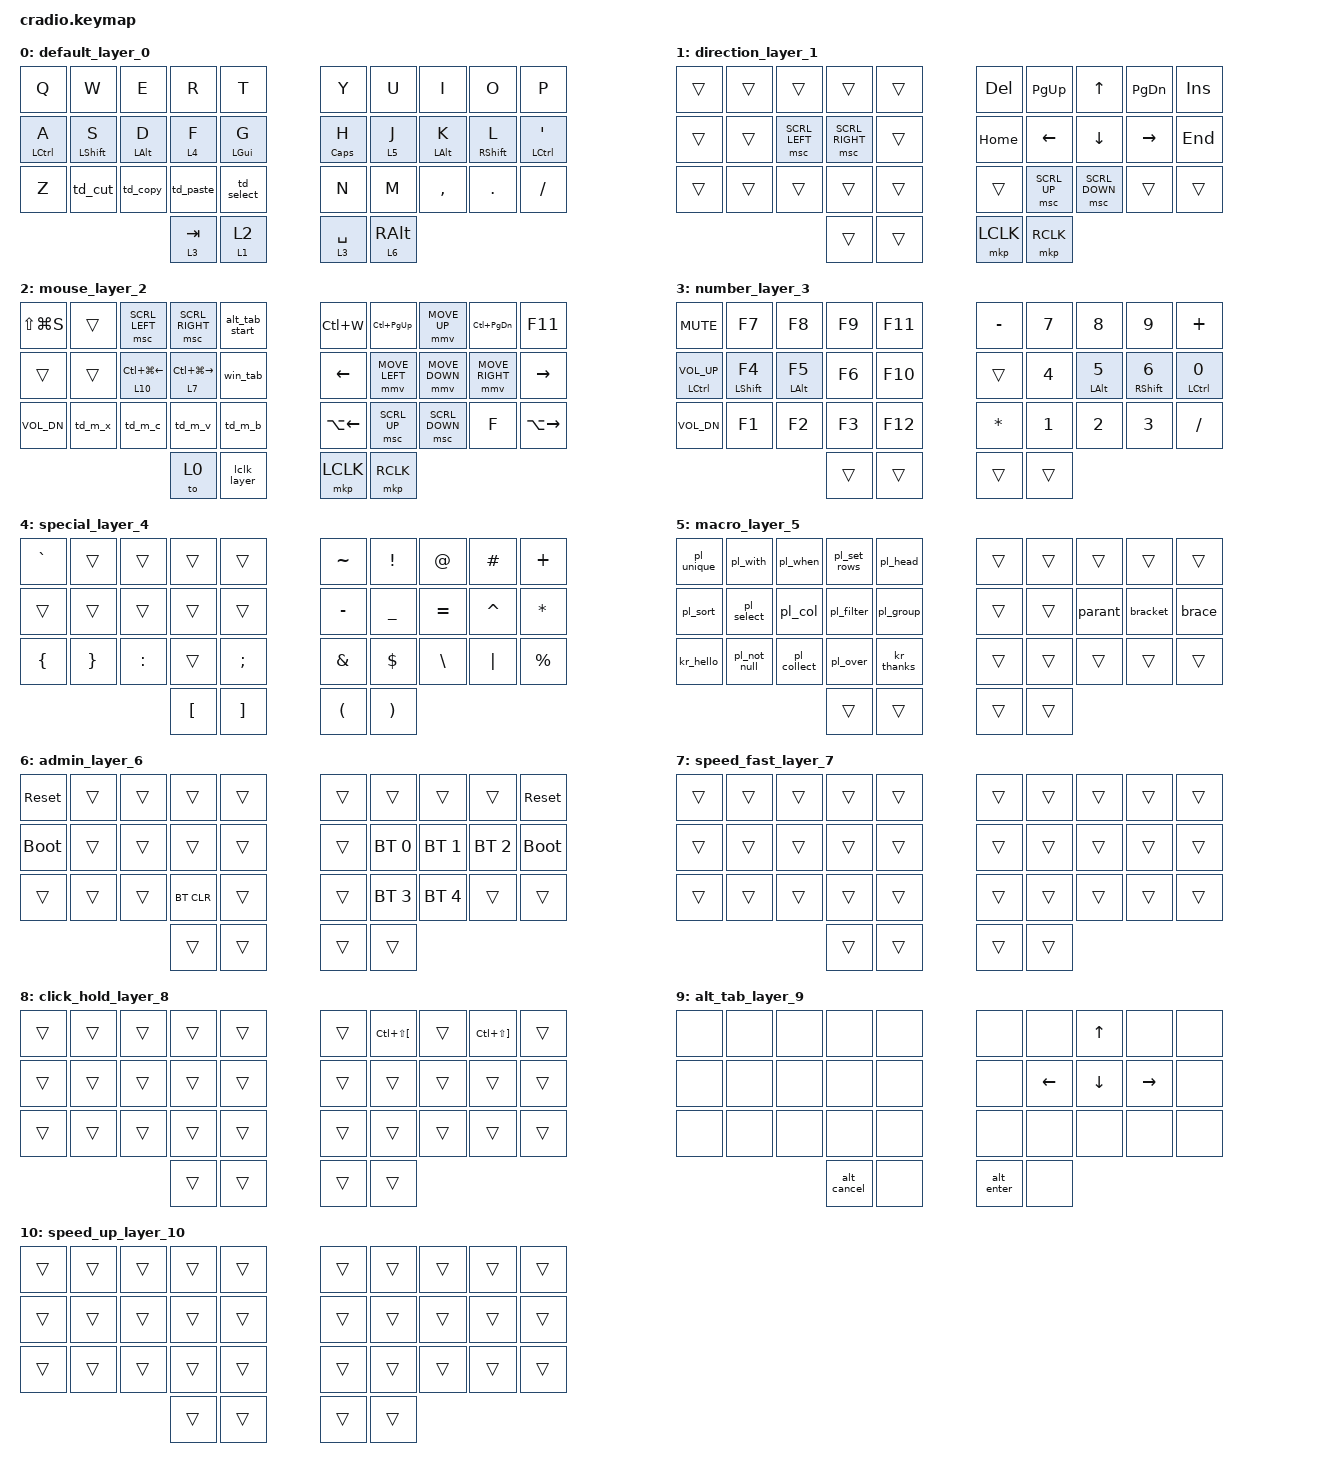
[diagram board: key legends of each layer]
// Copyright (c) 2022 The ZMK Contributors
// SPDX-License-Identifier: MIT

#include <behaviors.dtsi>
#include <dt-bindings/zmk/keys.h>
#include <dt-bindings/zmk/bt.h>
#include <dt-bindings/zmk/pointing.h>
#define ZMK_POINTING_DEFAULT_MOVE_VAL 1800  // default: 600
#define ZMK_POINTING_DEFAULT_SCRL_VAL 80    // default: 10
#include <input/processors.dtsi>

&mmv {
        acceleration-exponent = <1>;
        time-to-max-speed-ms = <300>;
    };

&msc {
        acceleration-exponent = <1>;
        time-to-max-speed-ms = <200>;
    };


//╭──────────┬──────────┬──────────┬──────────┬──────────╮   ╭──────────┬──────────┬──────────┬──────────┬──────────╮
//│  Q    0  │  W    1  │  E   2   │  R   3   │  T   4   │   │  Y   5   │  U   6   │  I   7   │  O   8   │  P   9   │
//├──────────┼──────────┼──────────┼──────────┼──────────┤   ├──────────┼──────────┼──────────┼──────────┼──────────┤
//│  A    10 │  S    11 │  D   12  │  F   13  │  G   14  │   │  H   15  │  J   16  │  K   17  │  L   18  │ ' "  19  │
//├──────────┼──────────┼──────────┼──────────┼──────────┤   ├──────────┼──────────┼──────────┼──────────┼──────────┤
//│  Z    20 │  X    21 │  C   22  │  V   23  │  B   24  │   │  N   25  │  M   26  │ , <  27  │ . >  28  │ / ?  29  │
//╰──────────┴──────────┴──────────┼──────────┼──────────┤   ├──────────┼──────────┼──────────┴──────────┴──────────╯
//                                 │      30  │      31  │   │      32  │      33  │
//                                 ╰──────────┴──────────╯   ╰──────────┴──────────╯

&mmv_input_listener {
    input-processors = <&zip_xy_scaler 1 1>;   // 기본 속도

    slow_override {
        layers = <7>;
        input-processors = <&zip_xy_scaler 1 2>;  // 7번 레이어(F 홀드): 절반 속도
    };

    fast_override {
        layers = <10>;                             // [수정] 8 -> 10
        input-processors = <&zip_xy_scaler 5 1>;  // 10번 레이어(D 홀드): 5배 속도
    };
};

/ {
macros {
    pl_col: pl_col {
        compatible = "zmk,behavior-macro";
        #binding-cells = <0>;
        wait-ms = <7>;
        tap-ms = <7>;
        bindings
            = <&kp P &kp L &kp DOT &kp C &kp O &kp L &kp LPAR &kp SQT &kp SQT &kp RPAR>
            , <&kp LEFT &kp LEFT>;
    };

    pl_sort: pl_sort {
        compatible = "zmk,behavior-macro";
        #binding-cells = <0>;
        wait-ms = <7>;
        tap-ms = <7>;
        bindings
            = <&kp DOT &kp S &kp O &kp R &kp T &kp LPAR &kp SQT &kp SQT &kp RPAR>
            , <&kp LEFT &kp LEFT>;
    };

    pl_select: pl_select {
        compatible = "zmk,behavior-macro";
        #binding-cells = <0>;
        wait-ms = <7>;
        tap-ms = <7>;
        bindings
            = <&kp DOT &kp S &kp E &kp L &kp E &kp C &kp T>
            , <&kp LPAR &kp LBKT &kp SQT &kp SQT &kp RBKT &kp RPAR>
            , <&kp LEFT &kp LEFT &kp LEFT>;
    };

    pl_with: pl_with {
        compatible = "zmk,behavior-macro";
        #binding-cells = <0>;
        wait-ms = <15>;
        tap-ms = <15>;
        bindings

            = <&kp EQUAL>, <&kp LPAR>, <&kp P>, <&kp L>, <&kp DOT>, <&kp C>, <&kp O>, <&kp L>
            , <&kp LPAR>, <&kp SQT>, <&kp SQT>, <&kp RPAR>, <&kp RPAR>, <&kp RPAR>
            , <&kp HOME>
            , <&kp DOT>, <&kp W>, <&kp I>, <&kp T>, <&kp H>, <&kp UNDER>, <&kp C>, <&kp O>, <&kp L>, <&kp U>, <&kp M>, <&kp N>, <&kp S>
            , <&kp LPAR>, <&kp SPACE>;
    };


    pl_filter: pl_filter {
        compatible = "zmk,behavior-macro";
        #binding-cells = <0>;
        wait-ms = <7>;
        tap-ms = <7>;
        bindings
            = <&kp DOT &kp F &kp I &kp L &kp T &kp E &kp R>
            , <&kp LPAR &kp P &kp L &kp DOT &kp C &kp O &kp L &kp LPAR>
            , <&kp SQT &kp SQT &kp RPAR &kp RPAR>
            , <&kp LEFT &kp LEFT &kp LEFT>;
    };

    pl_unique: pl_unique {
        compatible = "zmk,behavior-macro";
        #binding-cells = <0>;
        wait-ms = <7>;
        tap-ms = <7>;
        bindings = <&kp DOT &kp U &kp N &kp I &kp Q &kp U &kp E &kp LPAR &kp RPAR>;
    };

    pl_when: pl_when {
        compatible = "zmk,behavior-macro";
        #binding-cells = <0>;
        wait-ms = <7>;
        tap-ms = <7>;
        // pl.when().then().otherwise(None)|  (커서는 맨 끝)
        bindings
            = <&kp P &kp L &kp DOT &kp W &kp H &kp E &kp N &kp LPAR &kp RPAR>
            , <&kp DOT &kp T &kp H &kp E &kp N &kp LPAR &kp RPAR>
            , <&kp DOT &kp O &kp T &kp H &kp E &kp R &kp W &kp I &kp S &kp E &kp LPAR &kp LS(N) &kp O &kp N &kp E &kp RPAR>
            ;
    };

    pl_not_null: pl_not_null {
        compatible = "zmk,behavior-macro";
        #binding-cells = <0>;
        wait-ms = <7>;
        tap-ms = <7>;
        bindings
            = <&kp DOT &kp I &kp S &kp UNDER &kp N &kp O &kp T &kp UNDER &kp N &kp U &kp L &kp L &kp LPAR &kp RPAR>
            , <&kp LEFT &kp LEFT &kp LEFT &kp LEFT &kp LEFT &kp LEFT &kp LEFT>
            , <&kp LS(LEFT) &kp LS(LEFT) &kp LS(LEFT) &kp LS(LEFT)>
            ;
    };


    pl_collect: pl_collect {
        compatible = "zmk,behavior-macro";
        #binding-cells = <0>;
        wait-ms = <7>;
        tap-ms = <7>;
        // .collect(engine='streaming')
        bindings
            = <&kp DOT &kp C &kp O &kp L &kp L &kp E &kp C &kp T &kp LPAR>
            , <&kp E &kp N &kp G &kp I &kp N &kp E &kp EQUAL &kp SQT &kp S &kp T &kp R &kp E &kp A &kp M &kp I &kp N &kp G &kp SQT &kp RPAR>
            ;
    };

    pl_head: pl_head {
        compatible = "zmk,behavior-macro";
        #binding-cells = <0>;
        wait-ms = <7>;
        tap-ms = <7>;
        bindings = <&kp DOT &kp H &kp E &kp A &kp D &kp LPAR &kp RPAR>;
    };

    pl_set_rows: pl_set_rows {
        compatible = "zmk,behavior-macro";
        #binding-cells = <0>;
        wait-ms = <7>;
        tap-ms = <7>;
        bindings
            = <&kp P &kp L &kp DOT &kp LS(C) &kp O &kp N &kp F &kp I &kp G &kp DOT &kp S &kp E &kp T &kp UNDER &kp T &kp B &kp L &kp UNDER &kp R &kp O &kp W &kp S &kp LPAR &kp RPAR>
            , <&kp LEFT>;
    };

    pl_group: pl_group {
        compatible = "zmk,behavior-macro";
        #binding-cells = <0>;
        wait-ms = <15>;
        tap-ms = <15>;
        bindings
            = <&kp SQT>, <&kp RPAR>, <&kp DOT>, <&kp A>, <&kp G>, <&kp G>
            , <&kp LPAR>, <&kp SPACE>, <&kp EQUAL>, <&kp P>, <&kp L>, <&kp DOT>, <&kp C>, <&kp O>, <&kp L>
            , <&kp LPAR>, <&kp SQT>, <&kp SQT>, <&kp RPAR>, <&kp RPAR>, <&kp RPAR>
            , <&kp HOME>
            , <&kp DOT>, <&kp G>, <&kp R>, <&kp O>, <&kp U>, <&kp P>, <&kp UNDER>, <&kp B>, <&kp Y>
            , <&kp LPAR>
            ;
    };


    pl_over: pl_over {
        compatible = "zmk,behavior-macro";
        #binding-cells = <0>;
        wait-ms = <7>;
        tap-ms = <7>;
        bindings
            = <&kp DOT &kp O &kp V &kp E &kp R &kp LPAR &kp SQT &kp SQT &kp RPAR>
            , <&kp LEFT &kp LEFT> ;
    };

    bracket: bracket {
        compatible = "zmk,behavior-macro";
        #binding-cells = <0>;
        wait-ms = <7>;
        tap-ms = <7>;
        bindings
            = <&kp LBKT &kp RBKT &kp LEFT> ;
    };

    brace: brace {
        compatible = "zmk,behavior-macro";
        #binding-cells = <0>;
        wait-ms = <7>;
        tap-ms = <7>;
        bindings
            = <&kp LBRC &kp RBRC &kp LEFT> ;
    };

    parant: parant {
        compatible = "zmk,behavior-macro";
        #binding-cells = <0>;
        wait-ms = <7>;
        tap-ms = <7>;
        bindings
            = <&kp LPAR &kp RPAR &kp LEFT> ;
    };

    kr_thanks: kr_thanks {
        compatible = "zmk,behavior-macro";
        #binding-cells = <0>;
        wait-ms = <7>;
        tap-ms = <7>;
        bindings
            = <&kp R &kp K &kp A &kp T &kp K &kp G &kp K &kp Q &kp S &kp L &kp E &kp K &kp TILDE &kp EXCL> ;
    };


    kr_hello: kr_hello {
        compatible = "zmk,behavior-macro";
        #binding-cells = <0>;
        wait-ms = <7>;
        tap-ms = <7>;
        bindings
            = <&kp D &kp K &kp S &kp S &kp U &kp D &kp G &kp K &kp T &kp P &kp D &kp Y> ;
    };

    win_tab: win_tab {
        compatible = "zmk,behavior-macro";
        #binding-cells = <0>;
        wait-ms = <7>;
        tap-ms = <7>;
        bindings
            = <&macro_press &kp LGUI>
            , <&macro_tap &kp TAB>
            , <&macro_release &kp LGUI>
            ;
    };

    // ===== 마우스 레이어에서 좌클릭(31번) 홀드 중 레이어 8(click_hold_layer_8) 활성화 =====
    lclk_layer: lclk_layer {
        compatible = "zmk,behavior-macro";
        #binding-cells = <0>;
        wait-ms = <0>;
        tap-ms = <0>;
        bindings
            = <&macro_press &mo 8 &mkp LCLK>
            , <&macro_pause_for_release>
            , <&macro_release &mo 8 &mkp LCLK>
            ;
    };

    // ===== Alt 유지형 Alt+Tab (기본 레이어 L0 위에 레이어 9를 얹는 방식) =====
    alt_tab_start: alt_tab_start {
        compatible = "zmk,behavior-macro";
        #binding-cells = <0>;
        wait-ms = <15>;
        tap-ms = <15>;
        bindings
            = <&macro_press &kp LALT>
            , <&macro_tap &kp TAB>
            , <&macro_tap &to 0>
            , <&macro_tap &tog 9>
            ;
    };

    // Enter로 선택 확정 -> Alt 해제 -> 레이어 9 종료 -> 마우스 레이어(L2)로 복귀
    alt_enter: alt_enter {
        compatible = "zmk,behavior-macro";
        #binding-cells = <0>;
        wait-ms = <10>;
        tap-ms = <10>;
        bindings
            = <&macro_tap &kp ENTER>
            , <&macro_release &kp LALT>
            , <&macro_tap &tog 9>
            , <&macro_tap &to 2>
            ;
    };

    // Esc로 전환기 닫기 -> Alt 해제 -> 레이어 9 종료 -> 마우스 레이어(L2)로 복귀 (창 전환 없음)
    alt_cancel: alt_cancel {
        compatible = "zmk,behavior-macro";
        #binding-cells = <0>;
        wait-ms = <10>;
        tap-ms = <10>;
        bindings
            = <&macro_tap &kp ESC>
            , <&macro_release &kp LALT>
            , <&macro_tap &tog 9>
            , <&macro_tap &to 2>
            ;
    };

};
combos {
    compatible = "zmk,combos";
    // k + l = ENTER (레이어 9 제외)
    combo_enter {
        timeout-ms = <30>;
        key-positions = <17 18>;
        layers = <0 1 2 3 4 5 6 7 8 10>;   // [수정] 10 추가
        bindings = <&kp ENTER>;
    };

    // d + f = CAPS LOCK (누를 때마다 on/off 토글)
    combo_capslock {
        timeout-ms = <30>;
        key-positions = <12 13>;   // D(12), F(13)
        layers = <0>;              // 기본 레이어에서만
        bindings = <&kp CAPS>;
    };

    // m + , = home
    combo_home {
        timeout-ms = <30>;
        layers = <0 1 2 3 4 5 6 7 8 10>;   // [수정]
        key-positions = <26 27>;
        bindings = <&kp HOME>;
    };

    // n + m = voldn
    combo_voldn {
        timeout-ms = <30>;
        layers = <0 1 2 3 4 5 6 7 8 10>;   // [수정]
        key-positions = <25 26>;
        bindings = <&kp C_VOL_DN>;
    };

    // , + . = volup
    combo_volup {
        timeout-ms = <30>;
        layers = <0 1 2 3 4 5 6 7 8 10>;   // [수정]
        key-positions = <27 28>;
        bindings = <&kp C_VOL_UP>;
    };

    // j + k = BACKSPACE
    combo_backspace {
        timeout-ms = <30>;
        layers = <0 1 2 3 4 5 6 7 8 10>;   // [수정]
        key-positions = <16 17>;
        bindings = <&kp BSPC>;
    };

    // h + j = cntrl + BACKSPACE
    combo_backspace_ctrl {
        timeout-ms = <30>;
        layers = <0 1 2 3 4 5 6 7 8 10>;   // [수정]
        key-positions = <16 17 18>;
        bindings = <&kp LC(BSPC)>;
    };

    // w + e = esc
    combo_esc {
        timeout-ms = <30>;
        layers = <0 1 2 3 4 5 6 7 8 10>;   // [수정]
        key-positions = <1 2>;
        bindings = <&kp ESC>;
    };

    // d + ' = colon
    combo_COLON {
        timeout-ms = <30>;
        layers = <0 1 2 3 4 5 6 7 8 10>;   // [수정]
        key-positions = <18 19>;
        bindings = <&kp COLON>;
    };

    // d + : = semicolon
    combo_SEMI {
        timeout-ms = <30>;
        layers = <0 1 2 3 4 5 6 7 8 10>;   // [수정]
        key-positions = <28 29>;
        bindings = <&kp SEMI>;
    };

    // e + r = screen shot
    combo_screenshot {
        timeout-ms = <30>;
        layers = <0 1 2 3 4 5 6 7 8 10>;   // [수정]
        key-positions = <2 3>;
        bindings = <&kp LS(LG(S))>;
    };

    // ㅅ + ㅋ = 좌리셋
    combo_lreset {
        timeout-ms = <30>;
        key-positions = <4 20>;
        bindings = <&sys_reset>;
    };

    // ㅛ + / = 우리셋
    combo_rreset {
        timeout-ms = <30>;
        key-positions = <5 29>;
        bindings = <&sys_reset>;
    };
};
behaviors {
    ht: hold_tap {
        compatible = "zmk,behavior-hold-tap";
        #binding-cells = <2>;
        flavor = "tap-preferred";
        tapping-term-ms = <220>;
        quick-tap-ms = <150>;
        // require-prior-idle-ms = <100>;
        bindings = <&kp>, <&kp>;
    };

    layer_tab: layer_tap_hold {
        compatible = "zmk,behavior-hold-tap";
        #binding-cells = <2>;
        flavor = "tap-preferred";
        tapping-term-ms = <200>;
        // 홀드 시 첫 번째 인자(&mo), 탭 시 두 번째 인자(&kp) 실행
        bindings = <&mo>, <&kp>;
    };

    to_mo: to_mo {
        compatible = "zmk,behavior-hold-tap";
        #binding-cells = <2>;
        flavor = "tap-preferred";
        tapping-term-ms = <200>;
        bindings = <&mo>, <&to>;     // [Hold 시 동작], [Tap 시 동작]
    };

    td_cut: tap_dance_cut {
        compatible = "zmk,behavior-tap-dance";
        label = "TAP_DANCE_CUT";
        #binding-cells = <0>;
        tapping-term-ms = <200>;
        bindings = <&kp X>, <&kp LC(X)>;
    };

    // 복사 (c 한 번: c, 두 번: Ctrl+C)
    td_copy: tap_dance_copy {
        compatible = "zmk,behavior-tap-dance";
        label = "TAP_DANCE_COPY";
        #binding-cells = <0>;
        tapping-term-ms = <200>;
        bindings = <&kp C>, <&kp LC(C)>;
    };

    // 붙여넣기 (v 한 번: v, 두 번: Ctrl+V)
    td_paste: tap_dance_paste {
        compatible = "zmk,behavior-tap-dance";
        label = "TAP_DANCE_PASTE";
        #binding-cells = <0>;
        tapping-term-ms = <200>;
        bindings = <&kp V>, <&kp LC(V)>;
    };

    // 전체선택 (b 한 번: b, 두 번: Ctrl+A)
    td_select: tap_dance_select {
        compatible = "zmk,behavior-tap-dance";
        label = "TAP_DANCE_SELECT";
        #binding-cells = <0>;
        tapping-term-ms = <200>;
        bindings = <&kp B>, <&kp LC(A)>;
    };

    // ===== 마우스 레이어 전용: 1탭 = 미디어키, 2탭 = 잘라내기/복사/붙여넣기/전체선택 =====
    td_m_x: tap_dance_m_x {
        compatible = "zmk,behavior-tap-dance";
        label = "TAP_DANCE_M_X";
        #binding-cells = <0>;
        tapping-term-ms = <200>;
        bindings = <&kp C_PREV>, <&kp LC(X)>;
    };

    td_m_c: tap_dance_m_c {
        compatible = "zmk,behavior-tap-dance";
        label = "TAP_DANCE_M_C";
        #binding-cells = <0>;
        tapping-term-ms = <200>;
        bindings = <&kp C_PP>, <&kp LC(C)>;
    };

    td_m_v: tap_dance_m_v {
        compatible = "zmk,behavior-tap-dance";
        label = "TAP_DANCE_M_V";
        #binding-cells = <0>;
        tapping-term-ms = <200>;
        bindings = <&kp C_NEXT>, <&kp LC(V)>;
    };

    td_m_b: tap_dance_m_b {
        compatible = "zmk,behavior-tap-dance";
        label = "TAP_DANCE_M_B";
        #binding-cells = <0>;
        tapping-term-ms = <200>;
        bindings = <&kp C_VOL_UP>, <&kp LC(A)>;
    };

};
keymap {
    compatible = "zmk,keymap";

    // ---- 레이어 0 ----
    default_layer_0 {
        bindings = <
    //╭──────────┬──────────┬──────────┬──────────┬──────────╮   ╭──────────┬──────────┬──────────┬──────────┬──────────╮
    //│  Q       │  W       │  E       │  R       │  T       │   │  Y       │  U       │  I       │  O       │  P       │
        &kp Q         &kp W   &kp E     &kp R      &kp T         &kp Y      &kp U        &kp I      &kp O    &kp P
    //├──────────┼──────────┼──────────┼──────────┼──────────┤   ├──────────┼──────────┼──────────┼──────────┼──────────┤
    //│  A       │  S       │  D       │  F       │  G       │   │  H       │  J       │  K       │  L       │ ' "      │
        &ht LCTRL A &ht LSHFT S &ht LALT D &lt 4 F &ht LGUI G     &ht CAPS H  &lt 5 J &ht LALT K &ht RSHFT L &ht LCTRL SQT
    //├──────────┼──────────┼──────────┼──────────┼──────────┤   ├──────────┼──────────┼──────────┼──────────┼──────────┤
    //│  Z       │  X       │  C       │  V       │  B       │   │  N       │  M       │ , <      │ . >      │ / ?      │
        &kp Z      &td_cut    &td_copy   &td_paste  &td_select     &kp N      &kp M      &kp COMMA  &kp DOT    &kp FSLH
    //╰──────────┴──────────┴──────────┼──────────┼──────────┤   ├──────────┼──────────┼──────────┴──────────┴──────────╯
                                    &layer_tab 3 TAB    &to_mo 1 2  &lt 3 SPACE  &layer_tab 6 RALT
    //                                 ╰──────────┴──────────╯   ╰──────────┴──────────╯
        >;
    };

    // ---- 레이어 1 ----
    direction_layer_1 {
        bindings = <
        &trans      &trans   &trans      &trans       &trans      &kp DEL    &kp PG_UP    &kp UP  &kp PG_DN    &kp INS
        &trans   &trans  &msc SCRL_LEFT &msc SCRL_RIGHT &trans     &kp HOME  &kp LEFT  &kp DOWN   &kp RIGHT   &kp END
        &trans     &trans      &trans     &trans     &trans         &trans  &msc SCRL_UP &msc SCRL_DOWN &trans &trans
                                            &trans     &trans         &mkp LCLK  &mkp RCLK
        >;
    };

    // ---- 레이어 2 (마우스) ----
    mouse_layer_2 {
        bindings = <
    //╭──────────┬──────────┬──────────┬──────────┬──────────╮   ╭──────────┬──────────┬──────────┬──────────┬──────────╮
    //│          │          │          │          │ ALT+TAB  │   │          │          │          │          │          │
       &kp LS(LG(S)) &trans  &msc SCRL_LEFT &msc SCRL_RIGHT &alt_tab_start &kp LC(W) &kp LC(PG_UP) &mmv MOVE_UP &kp LC(PG_DN) &kp F11
    //├──────────┼──────────┼──────────┼──────────┼──────────┤   ├──────────┼──────────┼──────────┼──────────┼──────────┤
    //│          │          │          │          │          │   │          │          │          │          │          │
       &trans  &trans  &layer_tab 10 LC(LG(LEFT)) &layer_tab 7 LC(LG(RIGHT))  &win_tab &kp LEFT  &mmv MOVE_LEFT &mmv MOVE_DOWN &mmv MOVE_RIGHT &kp RIGHT
    //├──────────┼──────────┼──────────┼──────────┼──────────┤   ├──────────┼──────────┼──────────┼──────────┼──────────┤
    //│          │          │          │          │          │   │          │          │          │          │          │
        &kp C_VOL_DN  &td_m_x    &td_m_c  &td_m_v   &td_m_b       &kp LA(LEFT) &msc SCRL_UP &msc SCRL_DOWN &kp F &kp LA(RIGHT)
    //╰──────────┴──────────┴──────────┼──────────┼──────────┤   ├──────────┼──────────┼──────────┴──────────┴──────────╯
                                            &to 0  &lclk_layer       &mkp LCLK  &mkp RCLK
    //                                 ╰──────────┴──────────╯   ╰──────────┴──────────╯
        >;
    };

    // ---- 레이어 3 ----
    number_layer_3 {
        bindings = <
    &kp C_MUTE   &kp F7     &kp F8     &kp F9    &kp F11       &kp MINUS    &kp N7     &kp N8     &kp N9     &kp PLUS
    &ht LCTRL C_VOL_UP &ht LSHFT F4 &ht LALT F5 &kp F6 &kp F10     &trans    &kp N4   &ht LALT N5 &ht RSHFT N6 &ht LCTRL N0
    &kp C_VOL_DN  &kp F1     &kp F2     &kp F3    &kp F12        &kp ASTRK    &kp N1     &kp N2     &kp N3     &kp FSLH
                                            &trans     &trans         &trans     &trans
        >;
    };

    // ---- 레이어 4 ----
    special_layer_4 {
        bindings = <
        &kp GRAVE &trans &trans &trans &trans   &kp TILDE &kp EXCL &kp AT &kp HASH &kp PLUS
        &trans &trans &trans &trans &trans   &kp MINUS &kp UNDER &kp EQUAL &kp CARET &kp ASTRK
        &kp LBRC &kp RBRC &kp COLON &trans &kp SEMI   &kp AMPS &kp DLLR &kp BSLH &kp PIPE &kp PRCNT
        &kp LBKT &kp RBKT &kp LPAR &kp RPAR
        >;
    };

    // ---- 레이어 5 ----
    macro_layer_5 {
        bindings = <
        &pl_unique &pl_with &pl_when &pl_set_rows &pl_head   &trans &trans &trans &trans &trans
        &pl_sort &pl_select &pl_col &pl_filter &pl_group   &trans &trans &parant &bracket &brace
        &kr_hello &pl_not_null &pl_collect &pl_over &kr_thanks   &trans &trans &trans &trans &trans
        &trans &trans &trans &trans
        >;
    };

    // ---- 레이어 6 ----
    admin_layer_6 {
        bindings = <
        &sys_reset  &trans     &trans     &trans     &trans          &trans     &trans     &trans     &trans    &sys_reset
        &bootloader  &trans     &trans     &trans      &trans       &trans &bt BT_SEL 0 &bt BT_SEL 1 &bt BT_SEL 2 &bootloader
        &trans     &trans     &trans    &bt BT_CLR   &trans         &trans  &bt BT_SEL 3 &bt BT_SEL 4 &trans     &trans
                                            &trans     &trans        &trans     &trans
        >;
    };

    // ---- 레이어 7: F 홀드 (느린 속도) ----
    speed_fast_layer_7 {
        bindings = <
            &trans &trans &trans &trans &trans &trans &trans &trans &trans &trans
            &trans &trans &trans &trans &trans &trans &trans &trans &trans &trans
            &trans &trans &trans &trans &trans &trans &trans &trans &trans &trans
                                &trans &trans   &trans &trans
        >;
    };

    // ---- 레이어 8: 좌클릭(31번) 홀드 중 U / O 를 Ctrl+Shift+[ / ] 로 덮어씀 ----
    click_hold_layer_8 {
        bindings = <
            &trans &trans &trans &trans &trans   &trans &kp LC(LS(LBKT)) &trans &kp LC(LS(RBKT)) &trans
            &trans &trans &trans &trans &trans   &trans &trans &trans &trans &trans
            &trans &trans &trans &trans &trans   &trans &trans &trans &trans &trans
                                &trans &trans   &trans &trans
        >;
    };

    // ---- 레이어 9: Alt+Tab 유지 중(L0 위에 토글): 방향키 선택, Enter 확정, 나머지 차단 ----
    alt_tab_layer_9 {
        bindings = <
            &none &none &none &none &none   &none &none &kp UP &none &none
            &none &none &none &none &none   &none &kp LEFT &kp DOWN &kp RIGHT &none
            &none &none &none &none &none   &none &none &none &none &none
                                &alt_cancel &none   &alt_enter &none
        >;
    };

    // ---- 레이어 10: D 홀드 (빠른 속도) ----
    // [수정] 반드시 맨 마지막에 둘 것 (순서가 곧 레이어 번호)
    speed_up_layer_10 {
        bindings = <
            &trans &trans &trans &trans &trans   &trans &trans &trans &trans &trans
            &trans &trans &trans &trans &trans   &trans &trans &trans &trans &trans
            &trans &trans &trans &trans &trans   &trans &trans &trans &trans &trans
                                &trans &trans   &trans &trans
        >;
    };
};
};
